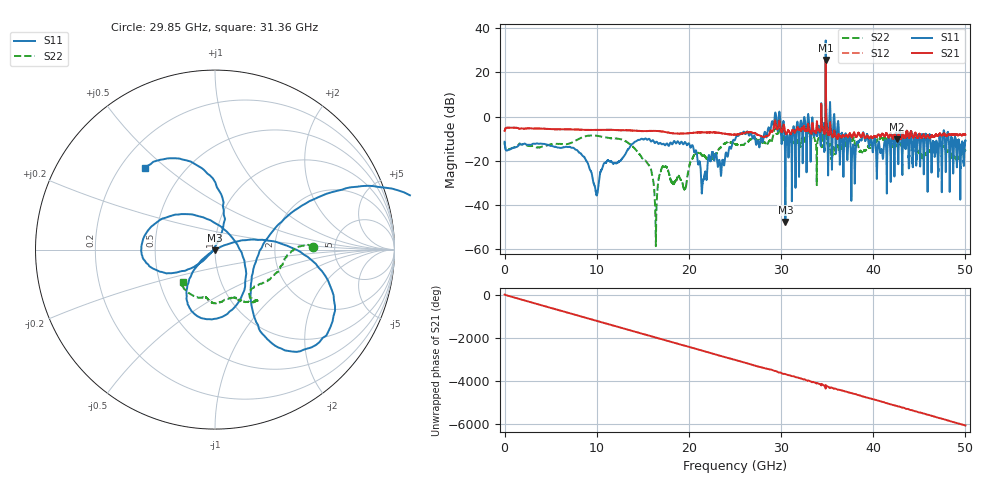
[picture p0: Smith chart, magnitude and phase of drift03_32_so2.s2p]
!Created with skrf (http://scikit-rf.org).
# Hz S RI R 50.0
!freq ReS11 ImS11 ReS21 ImS21 ReS12 ImS12 ReS22 ImS22
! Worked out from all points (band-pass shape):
!   10001 points, 300 kHz to 50 GHz, reference 50 ohm
!   highest |S21| = 25.70 dB at 34.85 GHz (marker M1); lowest = -10.4 dB at 42.56 GHz (marker M2)
!   |S21| within 3 dB of the highest: 34.84367 GHz to 34.84624 GHz (2.573 MHz wide, 0.00738 % of centre)
!   lowest |S11| = -47.8 dB at 30.47 GHz (marker M3), VSWR 1.01, Z = 49.8 - j0.329 ohm
!   |S11| at or under -10 dB: start of sweep to 15.23 GHz; 15.33 GHz to 25.05 GHz (9.727 GHz wide, 48.2 % of centre); 40.22 GHz to 41.62 GHz (1.397 GHz wide, 3.41 % of centre) (the widest 3 of 52)
!   |S22| runs from -58.8 to 16.8 dB; largest |S21 - S12| = 3
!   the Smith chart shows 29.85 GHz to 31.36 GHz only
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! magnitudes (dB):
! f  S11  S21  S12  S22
! 300 kHz  -11.4  -6.5  -6.5  -11.5
! 8.335 GHz  -17.1  -6.0  -6.0  -9.6
! 9.955 GHz  -35.5  -6.1  -6.1  -8.7
! 11 GHz  -20.9  -6.0  -6.0  -9.5
! 13.92 GHz  -12.3  -6.3  -6.3  -13.6
! 16.36 GHz  -11.9  -6.5  -6.5  -43.3
! 16.67 GHz  -12.4  -6.6  -6.5  -29.7
! 17.33 GHz  -12.7  -6.9  -6.9  -22.9
! 19.55 GHz  -11.7  -7.7  -7.7  -32.9
! 20.21 GHz  -13.9  -7.4  -7.5  -20.3
! 21.55 GHz  -28.7  -7.2  -7.2  -17.7
! 25 GHz  -10.6  -8.3  -8.2  -12.5
! 29.6 GHz  -5.6  -5.7  -5.9  -7.8
! 30.47 GHz  -47.8  -7.2  -7.2  -9.1
! 33.34 GHz  -3.8  -6.8  -6.7  -9.3
! 34.85 GHz  34.5  25.7  25.5  16.8
! 35.62 GHz  -7.3  -9.3  -9.1  -16.1
! 37.82 GHz  -12.8  -8.4  -8.4  -10.0
! 38.81 GHz  -9.1  -8.3  -8.3  -16.2
! 41.67 GHz  -9.4  -9.5  -9.4  -11.4
! 42.56 GHz  -8.3  -10.4  -10.5  -13.3
! 50 GHz  -10.8  -8.2  -8.3  -15.6
